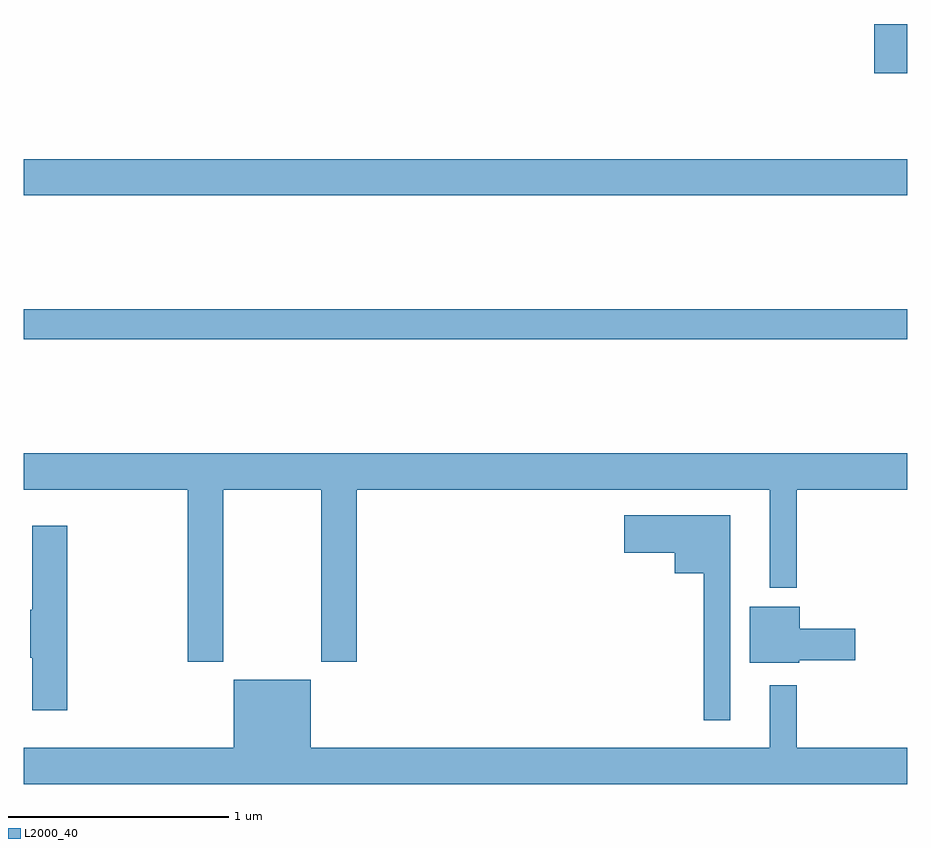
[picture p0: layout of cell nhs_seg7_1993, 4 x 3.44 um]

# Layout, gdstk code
import gdstk
lib = gdstk.Library(unit=1e-6, precision=1e-09)
def R(c, l, rs):  # rectangles x0, y0, x1, y1
    for r in rs: c.add(gdstk.rectangle(r[:2], r[2:], *l))
def P(c, l, *ps):  # polygons
    for p in ps: c.add(gdstk.Polygon(p, *l))
L2000_40 = (2000, 40)

nhs_seg7_1993 = lib.new_cell('nhs_seg7_1993')
R(nhs_seg7_1993, L2000_40, [(243,1058.572,247,1058.708), (243,1059.224,247,1059.388), (246.851,1059.777,247,1060)])
P(nhs_seg7_1993, L2000_40, [(243.903,1057.892),(244.348,1057.892),(244.348,1057.113),(244.508,1057.113),(244.508,1057.892),(246.377,1057.892),(246.377,1057.448),(246.499,1057.448),(246.499,1057.892),(247,1057.892),(247,1058.056),(243,1058.056),(243,1057.892),(243.743,1057.892),(243.743,1057.113),(243.903,1057.113)],
  [(246.199,1057.777),(245.718,1057.777),(245.718,1057.607),(245.948,1057.607),(245.948,1057.514),(246.078,1057.514),(246.078,1056.849),(246.199,1056.849)],
  [(243.197,1057.729),(243.038,1057.729),(243.038,1057.349),(243.031,1057.349),(243.031,1057.132),(243.038,1057.132),(243.038,1056.894),(243.197,1056.894)],
  [(246.51,1057.12),(246.763,1057.12),(246.763,1057.262),(246.514,1057.262),(246.514,1057.363),(246.287,1057.363),(246.287,1057.109),(246.51,1057.109)],
  [(246.377,1057.006),(246.377,1056.724),(244.3,1056.724),(244.3,1057.033),(243.95,1057.033),(243.95,1056.724),(243,1056.724),(243,1056.56),(247,1056.56),(247,1056.724),(246.499,1056.724),(246.499,1057.006)])

lib.write_gds('nhs_seg7_1993.gds')
